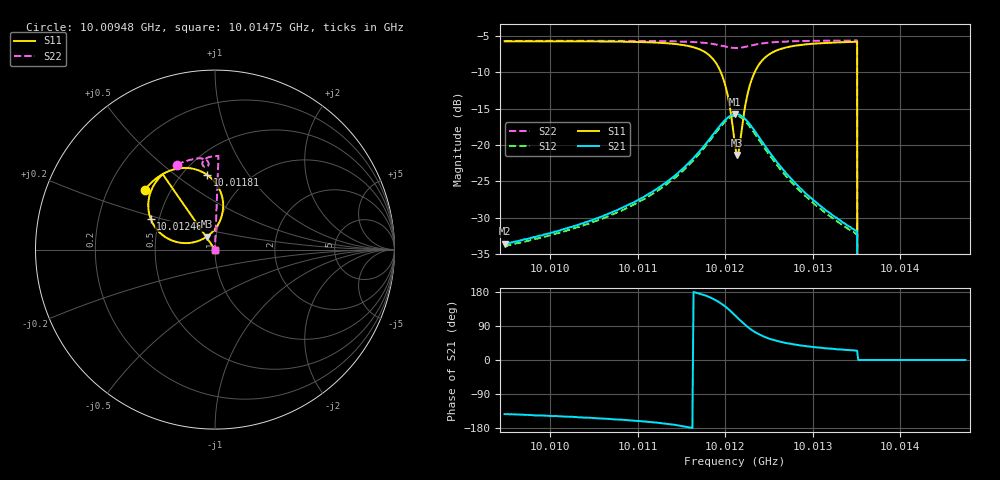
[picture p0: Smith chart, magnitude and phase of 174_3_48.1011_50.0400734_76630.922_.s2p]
#  HZ  S  RI  R  50.00
! Rohde & Schwarz Vector Network Analyzer
! Rohde-Schwarz,ZNB20-2Port,1311601062101988,3.16
! Created: UTC 12/23/2023, 3:52:06 AM
! freq[Hz]  re:S11  im:S11  re:S21  im:S21  re:S12  im:S12  re:S22  im:S22
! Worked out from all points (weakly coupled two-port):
!   401 points, 10.00948 GHz to 10.01475 GHz, reference 50 ohm
!   highest |S21| = -15.74 dB at 10.01211 GHz (marker M1); lowest = -33.5 dB at 10.00948 GHz (marker M2)
!   lowest |S11| = -21.4 dB at 10.01214 GHz (marker M3), VSWR 1.19, Z = 45.1 + j6.5 ohm
!   |S11| at or under -10 dB: 10.01195 GHz to 10.01234 GHz (387.7 kHz wide, 0.00387 % of centre); 10.01351 GHz to end of sweep
!   |S22| runs from - to -5.6 dB; largest |S21 - S12| = 0.0081
!   S11 on the Smith chart (normalised r, x): 10.00948 GHz: 0.36, +0.33; 10.01181 GHz: 0.66, +0.66; 10.01246 GHz: 0.45, +0.18; 10.01475 GHz: 1.00, +0.00
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1.0009481e10  -0.3923 0.3335  -0.0168 -0.0127  -0.0155 -0.013  -0.2127 0.4721
1.0010363e10  -0.3374 0.3887  -0.0254 -0.0137  -0.0238 -0.0144  -0.158 0.494
1.0010824e10  -0.2953 0.4183  -0.0342 -0.0142  -0.0323 -0.0151  -0.127 0.5027
1.0011245e10  -0.2361 0.4447  -0.0497 -0.0124  -0.0472 -0.0143  -0.0959 0.5079
1.0011561e10  -0.1567 0.4548  -0.0728 -0.00433  -0.0699 -0.00795  -0.0691 0.5073
1.0011811e10  -0.0422 0.4153  -0.1047 0.0239  -0.1026 0.018  -0.0451 0.497
1.0011916e10  0.0176 0.349  -0.1172 0.0554  -0.1166 0.0478  -0.0371 0.4858
1.0011995e10  0.0449 0.2627  -0.117 0.0898  -0.1181 0.0819  -0.036 0.4743
1.0012048e10  0.0381 0.1891  -0.1056 0.1162  -0.1076 0.1093  -0.0394 0.4666
1.0012114e10  -0.0132 0.0995  -0.0762 0.1444  -0.0802 0.1374  -0.0488 0.4605
1.001214e10  -0.0466 0.0715  -0.0608 0.1512  -0.0648 0.1447  -0.0532 0.4602
1.0012166e10  -0.085 0.0513  -0.0447 0.1548  -0.0486 0.1489  -0.0578 0.4608
1.0012232e10  -0.185 0.0371  -0.0062 0.1503  -0.0107 0.1452  -0.0667 0.4673
1.0012285e10  -0.2527 0.0565  0.0182 0.1371  0.0129 0.1326  -0.0701 0.4749
1.0012364e10  -0.3204 0.1079  0.039 0.1122  0.0335 0.1089  -0.0695 0.4865
1.0012456e10  -0.3588 0.1722  0.0485 0.086  0.0433 0.0838  -0.0639 0.4972
1.0012693e10  -0.3683 0.2866  0.0458 0.0456  0.0416 0.0452  -0.0435 0.5116
1.0012996e10  -0.3403 0.36  0.0352 0.0242  0.0323 0.0246  -0.0185 0.5186
1.0013483e10  -0.2935 0.4178  0.0235 0.0112  0.0219 0.0117  0.0177 0.5218
1.0013549e10  0 0  0 0  0 0  0 0
1.0013878e10  0 0  0 0  0 0  0 0
1.0014746e10  0 0  0 0  0 0  0 0
